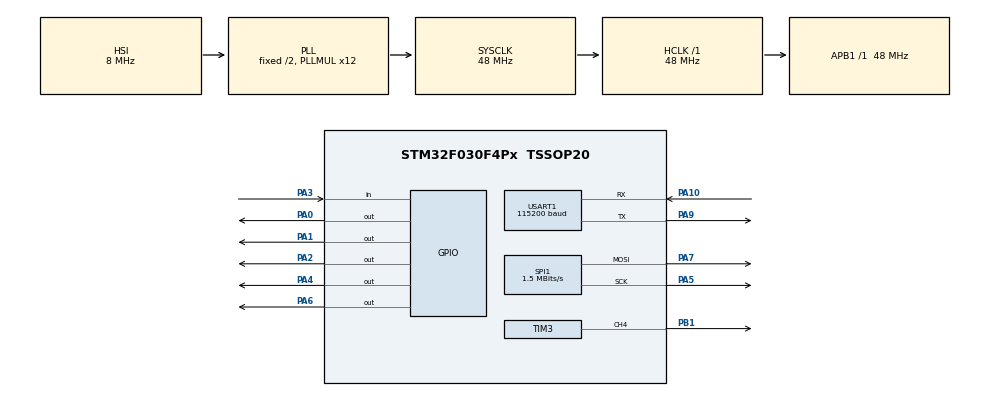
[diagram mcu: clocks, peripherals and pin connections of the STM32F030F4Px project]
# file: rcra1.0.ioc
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Dma.Request0=USART1_RX
Dma.USART1_RX.0.Direction=DMA_PERIPH_TO_MEMORY
Dma.USART1_RX.0.Instance=DMA1_Channel3
Dma.USART1_RX.0.MemDataAlignment=DMA_MDATAALIGN_BYTE
Dma.USART1_RX.0.MemInc=DMA_MINC_ENABLE
Dma.USART1_RX.0.Mode=DMA_NORMAL
Dma.USART1_RX.0.PeriphDataAlignment=DMA_PDATAALIGN_BYTE
Dma.USART1_RX.0.PeriphInc=DMA_PINC_DISABLE
Dma.USART1_RX.0.Priority=DMA_PRIORITY_LOW
Mcu.Family=STM32F0
Mcu.Name=STM32F030F4Px
Mcu.Package=TSSOP20
NVIC.DMA1_Channel2_3_IRQn=true\:0\:0\:false\:false\:true
NVIC.USART1_IRQn=true\:3\:0\:true\:false\:true
PA0.Signal=GPIO_Output
PA1.Signal=GPIO_Output
PA10.Mode=Asynchronous
PA10.Signal=USART1_RX
PA13.Mode=Serial_Wire
PA13.Signal=SYS_SWDIO
PA14.Mode=Serial_Wire
PA14.Signal=SYS_SWCLK
PA2.Signal=GPIO_Output
PA3.Signal=GPIO_Input
PA4.Signal=GPIO_Output
PA5.Mode=TX_Only_Simplex_Unidirect_Master
PA5.Signal=SPI1_SCK
PA6.Signal=GPIO_Output
PA7.Mode=TX_Only_Simplex_Unidirect_Master
PA7.Signal=SPI1_MOSI
PA9.Mode=Asynchronous
PA9.Signal=USART1_TX
PB1.Signal=S_TIM3_CH4
PF0-OSC_IN.Mode=HSE-External-Oscillator
PF0-OSC_IN.Signal=RCC_OSC_IN
PF1-OSC_OUT.Mode=HSE-External-Oscillator
PF1-OSC_OUT.Signal=RCC_OSC_OUT
ProjectManager.HeapSize=0x200
ProjectManager.StackSize=0x400
ProjectManager.TargetToolchain=MDK-ARM V5
RCC.AHBFreq_Value=48000000
RCC.APB1Freq_Value=48000000
RCC.APB1TimFreq_Value=48000000
RCC.HCLKFreq_Value=48000000
RCC.PLLMUL=RCC_PLL_MUL12
RCC.SYSCLKFreq_VALUE=48000000
RCC.SYSCLKSource=RCC_SYSCLKSOURCE_PLLCLK
SH.S_TIM3_CH4.0=TIM3_CH4,PWM Generation4 CH4
SPI1.BaudRatePrescaler=SPI_BAUDRATEPRESCALER_32
SPI1.CLKPhase=SPI_PHASE_2EDGE
SPI1.CLKPolarity=SPI_POLARITY_HIGH
SPI1.CalculateBaudRate=1.5 MBits/s
SPI1.DataSize=SPI_DATASIZE_8BIT
SPI1.Mode=SPI_MODE_MASTER
TIM3.Channel-PWM\ Generation4\ CH4=TIM_CHANNEL_4
TIM3.Period=1000
TIM3.Prescaler=48
TIM3.Pulse-PWM\ Generation4\ CH4=500
USART1.BaudRate=115200
board=rcra1.0

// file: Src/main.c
/**
  ******************************************************************************
  * File Name          : main.c
  * Description        : Main program body
  ******************************************************************************
  *
  * COPYRIGHT(c) 2017 STMicroelectronics
  *
  * Redistribution and use in source and binary forms, with or without modification,
  * are permitted provided that the following conditions are met:
  *   1. Redistributions of source code must retain the above copyright notice,
  *      this list of conditions and the following disclaimer.
  *   2. Redistributions in binary form must reproduce the above copyright notice,
  *      this list of conditions and the following disclaimer in the documentation
  *      and/or other materials provided with the distribution.
  *   3. Neither the name of STMicroelectronics nor the names of its contributors
  *      may be used to endorse or promote products derived from this software
  *      without specific prior written permission.
  *
  * THIS SOFTWARE IS PROVIDED BY THE COPYRIGHT HOLDERS AND CONTRIBUTORS "AS IS"
  * AND ANY EXPRESS OR IMPLIED WARRANTIES, INCLUDING, BUT NOT LIMITED TO, THE
  * IMPLIED WARRANTIES OF MERCHANTABILITY AND FITNESS FOR A PARTICULAR PURPOSE ARE
  * DISCLAIMED. IN NO EVENT SHALL THE COPYRIGHT HOLDER OR CONTRIBUTORS BE LIABLE
  * FOR ANY DIRECT, INDIRECT, INCIDENTAL, SPECIAL, EXEMPLARY, OR CONSEQUENTIAL
  * DAMAGES (INCLUDING, BUT NOT LIMITED TO, PROCUREMENT OF SUBSTITUTE GOODS OR
  * SERVICES; LOSS OF USE, DATA, OR PROFITS; OR BUSINESS INTERRUPTION) HOWEVER
  * CAUSED AND ON ANY THEORY OF LIABILITY, WHETHER IN CONTRACT, STRICT LIABILITY,
  * OR TORT (INCLUDING NEGLIGENCE OR OTHERWISE) ARISING IN ANY WAY OUT OF THE USE
  * OF THIS SOFTWARE, EVEN IF ADVISED OF THE POSSIBILITY OF SUCH DAMAGE.
  *
  ******************************************************************************
  */
#include "stm32f0xx_hal.h"

/* USER CODE BEGIN Includes */
#include <string.h>
#include "oled.h"
#include "relay_control.h"
#include "ui.h"
#include	"sm.h"
/* USER CODE END Includes */

SPI_HandleTypeDef hspi1;

TIM_HandleTypeDef htim3;

UART_HandleTypeDef huart1;
DMA_HandleTypeDef hdma_usart1_rx;

/* USER CODE BEGIN PV */
/* Private variables ---------------------------------------------------------*/
char  RxBuf[50];
char  TxBuf[50];
uint8_t str_over_flag;
/* USER CODE END PV */

void SystemClock_Config(void);
void Error_Handler(void);
static void MX_GPIO_Init(void);
static void MX_DMA_Init(void);
static void MX_SPI1_Init(void);
static void MX_TIM3_Init(void);
static void MX_USART1_UART_Init(void);

void HAL_TIM_MspPostInit(TIM_HandleTypeDef *htim);

/* USER CODE BEGIN PFP */
/* Private function prototypes -----------------------------------------------*/

/* USER CODE END PFP */

int main(void)
{

  /* MCU Configuration----------------------------------------------------------*/

  /* Reset of all peripherals, Initializes the Flash interface and the Systick. */
  HAL_Init();

  /* Configure the system clock */
  SystemClock_Config();

  /* Initialize all configured peripherals */
  MX_GPIO_Init();
  MX_DMA_Init();
  MX_SPI1_Init();
  MX_TIM3_Init();
  MX_USART1_UART_Init();

  /* USER CODE BEGIN 2 */
	OLED_Init();
	OLED_Clear();
	ShowWelBmp();
	HAL_Delay(5000);
//	RelayTest();
  /* USER CODE END 2 */

  /* Infinite loop */
  while (1)
  {
  /* USER CODE BEGIN 3 */
		if(str_over_flag == 1)
		{
			//OLED_ClearLine(0);
			OLED_Clear();
			OLED_ShowString(0,0,RxBuf);
			SM((char*)RxBuf);

			memset(RxBuf,0x00,sizeof(RxBuf));
		}
		str_over_flag = 0;
  }
  /* USER CODE END 3 */

}

/** System Clock Configuration
*/
void SystemClock_Config(void)
{

  RCC_OscInitTypeDef RCC_OscInitStruct;
  RCC_ClkInitTypeDef RCC_ClkInitStruct;
  RCC_PeriphCLKInitTypeDef PeriphClkInit;

  RCC_OscInitStruct.OscillatorType = RCC_OSCILLATORTYPE_HSI;
  RCC_OscInitStruct.HSIState = RCC_HSI_ON;
  RCC_OscInitStruct.HSICalibrationValue = 16;
  RCC_OscInitStruct.PLL.PLLState = RCC_PLL_ON;
  RCC_OscInitStruct.PLL.PLLSource = RCC_PLLSOURCE_HSI;
  RCC_OscInitStruct.PLL.PLLMUL = RCC_PLL_MUL12;
  RCC_OscInitStruct.PLL.PREDIV = RCC_PREDIV_DIV1;
  if (HAL_RCC_OscConfig(&RCC_OscInitStruct) != HAL_OK)
  {
    Error_Handler();
  }

  RCC_ClkInitStruct.ClockType = RCC_CLOCKTYPE_HCLK|RCC_CLOCKTYPE_SYSCLK
                              |RCC_CLOCKTYPE_PCLK1;
  RCC_ClkInitStruct.SYSCLKSource = RCC_SYSCLKSOURCE_PLLCLK;
  RCC_ClkInitStruct.AHBCLKDivider = RCC_SYSCLK_DIV1;
  RCC_ClkInitStruct.APB1CLKDivider = RCC_HCLK_DIV1;
  if (HAL_RCC_ClockConfig(&RCC_ClkInitStruct, FLASH_LATENCY_1) != HAL_OK)
  {
    Error_Handler();
  }

  PeriphClkInit.PeriphClockSelection = RCC_PERIPHCLK_USART1;
  PeriphClkInit.Usart1ClockSelection = RCC_USART1CLKSOURCE_PCLK1;
  if (HAL_RCCEx_PeriphCLKConfig(&PeriphClkInit) != HAL_OK)
  {
    Error_Handler();
  }

  HAL_SYSTICK_Config(HAL_RCC_GetHCLKFreq()/1000);

  HAL_SYSTICK_CLKSourceConfig(SYSTICK_CLKSOURCE_HCLK);

  /* SysTick_IRQn interrupt configuration */
  HAL_NVIC_SetPriority(SysTick_IRQn, 0, 0);
}

/* SPI1 init function */
static void MX_SPI1_Init(void)
{

  hspi1.Instance = SPI1;
  hspi1.Init.Mode = SPI_MODE_MASTER;
  hspi1.Init.Direction = SPI_DIRECTION_2LINES;
  hspi1.Init.DataSize = SPI_DATASIZE_8BIT;
  hspi1.Init.CLKPolarity = SPI_POLARITY_HIGH;
  hspi1.Init.CLKPhase = SPI_PHASE_2EDGE;
  hspi1.Init.NSS = SPI_NSS_SOFT;
  hspi1.Init.BaudRatePrescaler = SPI_BAUDRATEPRESCALER_32;
  hspi1.Init.FirstBit = SPI_FIRSTBIT_MSB;
  hspi1.Init.TIMode = SPI_TIMODE_DISABLE;
  hspi1.Init.CRCCalculation = SPI_CRCCALCULATION_DISABLE;
  hspi1.Init.CRCPolynomial = 7;
  hspi1.Init.CRCLength = SPI_CRC_LENGTH_DATASIZE;
  hspi1.Init.NSSPMode = SPI_NSS_PULSE_DISABLE;
  if (HAL_SPI_Init(&hspi1) != HAL_OK)
  {
    Error_Handler();
  }

}

/* TIM3 init function */
static void MX_TIM3_Init(void)
{

  TIM_MasterConfigTypeDef sMasterConfig;
  TIM_OC_InitTypeDef sConfigOC;

  htim3.Instance = TIM3;
  htim3.Init.Prescaler = 48;
  htim3.Init.CounterMode = TIM_COUNTERMODE_UP;
  htim3.Init.Period = 1000;
  htim3.Init.ClockDivision = TIM_CLOCKDIVISION_DIV1;
  if (HAL_TIM_PWM_Init(&htim3) != HAL_OK)
  {
    Error_Handler();
  }

  sMasterConfig.MasterOutputTrigger = TIM_TRGO_RESET;
  sMasterConfig.MasterSlaveMode = TIM_MASTERSLAVEMODE_DISABLE;
  if (HAL_TIMEx_MasterConfigSynchronization(&htim3, &sMasterConfig) != HAL_OK)
  {
    Error_Handler();
  }

  sConfigOC.OCMode = TIM_OCMODE_PWM1;
  sConfigOC.Pulse = 500;
  sConfigOC.OCPolarity = TIM_OCPOLARITY_HIGH;
  sConfigOC.OCFastMode = TIM_OCFAST_DISABLE;
  if (HAL_TIM_PWM_ConfigChannel(&htim3, &sConfigOC, TIM_CHANNEL_4) != HAL_OK)
  {
    Error_Handler();
  }

  HAL_TIM_MspPostInit(&htim3);

}

/* USART1 init function */
static void MX_USART1_UART_Init(void)
{

  huart1.Instance = USART1;
  huart1.Init.BaudRate = 115200;
  huart1.Init.WordLength = UART_WORDLENGTH_8B;
  huart1.Init.StopBits = UART_STOPBITS_1;
  huart1.Init.Parity = UART_PARITY_NONE;
  huart1.Init.Mode = UART_MODE_TX_RX;
  huart1.Init.HwFlowCtl = UART_HWCONTROL_NONE;
  huart1.Init.OverSampling = UART_OVERSAMPLING_16;
  huart1.Init.OneBitSampling = UART_ONE_BIT_SAMPLE_DISABLE;
  huart1.AdvancedInit.AdvFeatureInit = UART_ADVFEATURE_NO_INIT;
  if (HAL_UART_Init(&huart1) != HAL_OK)
  {
    Error_Handler();
  }

}

static void MX_DMA_Init(void)
{
  /* DMA controller clock enable */
  __HAL_RCC_DMA1_CLK_ENABLE();

  /* DMA interrupt init */
  /* DMA1_Channel2_3_IRQn interrupt configuration */
  HAL_NVIC_SetPriority(DMA1_Channel2_3_IRQn, 0, 0);
  HAL_NVIC_EnableIRQ(DMA1_Channel2_3_IRQn);

}

/** Configure pins as
        * Analog
        * Input
        * Output
        * EVENT_OUT
        * EXTI
*/
static void MX_GPIO_Init(void)
{

  GPIO_InitTypeDef GPIO_InitStruct;

  /* GPIO Ports Clock Enable */
  __HAL_RCC_GPIOF_CLK_ENABLE();
  __HAL_RCC_GPIOA_CLK_ENABLE();
  __HAL_RCC_GPIOB_CLK_ENABLE();

  /*Configure GPIO pin Output Level */
  HAL_GPIO_WritePin(GPIOA, GPIO_PIN_0|GPIO_PIN_1|GPIO_PIN_2|GPIO_PIN_4
                          |GPIO_PIN_6, GPIO_PIN_RESET);

  /*Configure GPIO pins : PA0 PA1 PA2 PA3 PA4
                           PA6 */
  GPIO_InitStruct.Pin = GPIO_PIN_0|GPIO_PIN_1|GPIO_PIN_2|GPIO_PIN_3|GPIO_PIN_4
                          |GPIO_PIN_6;
  GPIO_InitStruct.Mode = GPIO_MODE_OUTPUT_PP;
  GPIO_InitStruct.Pull = GPIO_NOPULL;
  GPIO_InitStruct.Speed = GPIO_SPEED_FREQ_LOW;
  HAL_GPIO_Init(GPIOA, &GPIO_InitStruct);

}

/* USER CODE BEGIN 4 */
int fputc(int ch, FILE *f)
{
	HAL_UART_Transmit(&huart1,(uint8_t*)&ch,1,10);
	return (ch);
}
/* USER CODE END 4 */

void Error_Handler(void)
{
  while(1)
  {
  }
}

/************************ (C) COPYRIGHT STMicroelectronics *****END OF FILE****/
